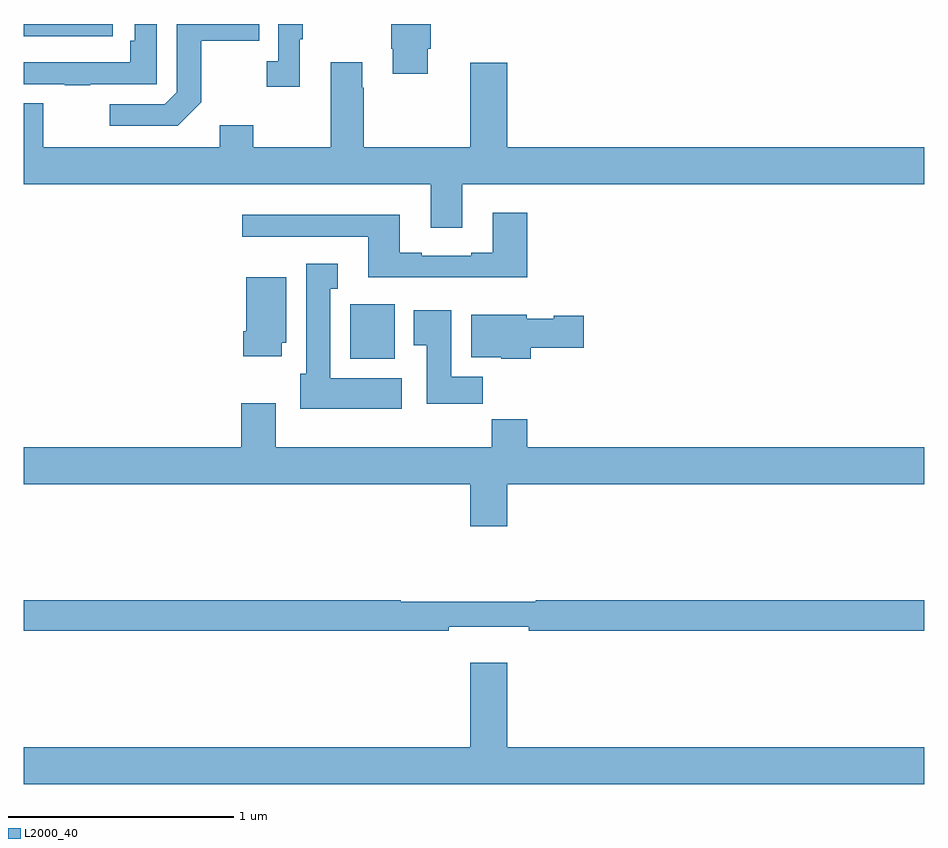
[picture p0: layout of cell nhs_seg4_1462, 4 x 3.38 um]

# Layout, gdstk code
import gdstk
lib = gdstk.Library(unit=1e-6, precision=1e-09)
def R(c, l, rs):  # rectangles x0, y0, x1, y1
    for r in rs: c.add(gdstk.rectangle(r[:2], r[2:], *l))
def P(c, l, *ps):  # polygons
    for p in ps: c.add(gdstk.Polygon(p, *l))
L2000_40 = (2000, 40)

nhs_seg4_1462 = lib.new_cell('nhs_seg4_1462')
R(nhs_seg4_1462, L2000_40, [(188.45,761.414,188.647,761.656), (187,762.846,187.396,762.9)])
P(nhs_seg4_1462, L2000_40, [(187.789,762.553),(187.789,762.826),(188.045,762.826),(188.045,762.9),(187.68,762.9),(187.68,762.597),(187.626,762.543),(187.383,762.543),(187.383,762.447),(187.683,762.447)],
  [(188.794,762.79),(188.807,762.79),(188.807,762.9),(188.632,762.9),(188.632,762.79),(188.639,762.79),(188.639,762.678),(188.794,762.678)],
  [(187.295,762.633),(187.59,762.633),(187.59,762.9),(187.494,762.9),(187.494,762.826),(187.474,762.826),(187.474,762.729),(187,762.729),(187,762.633),(187.183,762.633),(187.183,762.628),(187.295,762.628)],
  [(188.227,762.833),(188.239,762.833),(188.239,762.9),(188.13,762.9),(188.13,762.734),(188.079,762.734),(188.079,762.621),(188.227,762.621)],
  [(188.947,762.188),(191,762.188),(191,762.352),(189.148,762.352),(189.148,762.727),(188.984,762.727),(188.984,762.352),(188.511,762.352),(188.511,762.617),(188.503,762.617),(188.503,762.73),(188.363,762.73),(188.363,762.352),(188.019,762.352),(188.019,762.451),(187.871,762.451),(187.871,762.352),(187.087,762.352),(187.087,762.547),(187,762.547),(187,762.188),(188.807,762.188),(188.807,761.994),(188.947,761.994)],
  [(189.236,762.061),(189.083,762.061),(189.083,761.884),(188.987,761.884),(188.987,761.871),(188.767,761.871),(188.767,761.884),(188.671,761.884),(188.671,762.052),(187.971,762.052),(187.971,761.955),(188.531,761.955),(188.531,761.774),(189.236,761.774)],
  [(188.68,761.326),(188.362,761.326),(188.362,761.723),(188.395,761.723),(188.395,761.836),(188.255,761.836),(188.255,761.346),(188.228,761.346),(188.228,761.192),(188.68,761.192)],
  [(188.146,761.484),(188.167,761.484),(188.167,761.776),(187.988,761.776),(187.988,761.536),(187.976,761.536),(187.976,761.424),(188.146,761.424)],
  [(189.038,761.332),(188.899,761.332),(188.899,761.629),(188.732,761.629),(188.732,761.473),(188.789,761.473),(188.789,761.214),(189.038,761.214)],
  [(189.251,761.461),(189.487,761.461),(189.487,761.603),(189.354,761.603),(189.354,761.59),(189.234,761.59),(189.234,761.608),(188.987,761.608),(188.987,761.42),(189.12,761.42),(189.12,761.414),(189.251,761.414)],
  [(189.148,760.856),(191,760.856),(191,761.02),(189.236,761.02),(189.236,761.144),(189.079,761.144),(189.079,761.02),(188.119,761.02),(188.119,761.215),(187.967,761.215),(187.967,761.02),(187,761.02),(187,760.856),(188.984,760.856),(188.984,760.668),(189.148,760.668)],
  [(188.888,760.223),(189.244,760.223),(189.244,760.204),(191,760.204),(191,760.34),(189.274,760.34),(189.274,760.333),(188.674,760.333),(188.674,760.34),(187,760.34),(187,760.204),(188.888,760.204)],
  [(191,759.688),(189.148,759.688),(189.148,760.063),(188.984,760.063),(188.984,759.688),(187,759.688),(187,759.524),(191,759.524)])

lib.write_gds('nhs_seg4_1462.gds')
